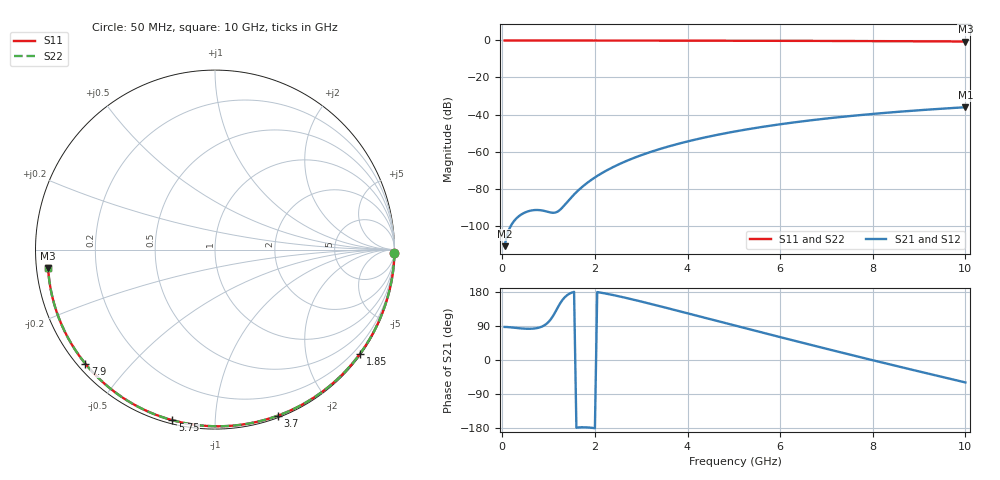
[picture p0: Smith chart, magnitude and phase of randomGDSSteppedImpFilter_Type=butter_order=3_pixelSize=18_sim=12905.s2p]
! freq	dB(S11)	phase(S11)	dB(S12)	phase(S12)
!  dB(S21)	phase(S21)	dB(S22)	phase(S22)
!S-par simulation data
#  GHz  S  DB  R 50
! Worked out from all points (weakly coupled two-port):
!   200 points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, 50 MHz to 10 GHz, reference 50 ohm
!   highest |S21| = -36.07 dB at 10 GHz (marker M1); lowest = -111.1 dB at 50 MHz (marker M2)
!   lowest |S11| = -0.6 dB at 10 GHz (marker M3), VSWR 30.03, Z = 1.67 - j2.76 ohm
!   |S11| at or under -10 dB: nowhere
!   |S22| runs from -0.6 to 0.0 dB; largest |S21 - S12| = 0
!   S11 on the Smith chart (normalised r, x): 50 MHz: open; 1.85 GHz: 0.03, -3.11; 3.7 GHz: 0.02, -1.44; 5.75 GHz: 0.02, -0.78; 7.9 GHz: 0.02, -0.38; 10 GHz: 0.03, -0.06
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0.05  -0.00 -1.0  -111.11 87.2  -111.11 87.2  -0.00 -1.0
0.45  -0.01 -8.8  -93.41 82.9  -93.41 82.9  -0.01 -8.8
0.85  -0.02 -16.6  -91.79 87.8  -91.79 87.8  -0.02 -16.6
1.65  -0.04 -31.9  -80.76 -178.0  -80.76 -178.0  -0.04 -31.9
1.7  -0.04 -32.8  -79.64 -177.6  -79.64 -177.6  -0.04 -32.8
1.75  -0.04 -33.8  -78.58 -177.5  -78.58 -177.5  -0.04 -33.8
1.85  -0.05 -35.7  -76.61 -178.0  -76.61 -178.0  -0.05 -35.7
2.15  -0.05 -41.3  -71.66 177.2  -71.66 177.2  -0.05 -41.3
2.5  -0.06 -47.8  -67.10 168.6  -67.10 168.6  -0.06 -47.8
2.9  -0.07 -55.1  -62.90 157.2  -62.90 157.2  -0.07 -55.1
3.4  -0.09 -64.1  -58.65 142.0  -58.65 142.0  -0.09 -64.1
3.7  -0.09 -69.4  -56.49 132.7  -56.49 132.7  -0.09 -69.4
4.35  -0.12 -80.6  -52.51 112.2  -52.51 112.2  -0.12 -80.7
5.05  -0.14 -92.5  -49.04 90.1  -49.04 90.1  -0.14 -92.5
5.75  -0.18 -104.0  -46.18 68.2  -46.18 68.2  -0.18 -104.0
6.2  -0.20 -111.3  -44.59 54.2  -44.59 54.2  -0.20 -111.3
6.7  -0.24 -119.4  -43.01 38.7  -43.01 38.7  -0.24 -119.4
7.3  -0.28 -129.0  -41.35 20.4  -41.35 20.4  -0.28 -129.0
7.9  -0.33 -138.6  -39.91 2.3  -39.91 2.3  -0.33 -138.6
8.35  -0.38 -145.9  -38.94 -11.1  -38.94 -11.1  -0.38 -145.9
9.2  -0.47 -159.9  -37.34 -36.0  -37.34 -36.0  -0.47 -159.9
10  -0.58 -173.7  -36.07 -59.2  -36.07 -59.2  -0.58 -173.7
